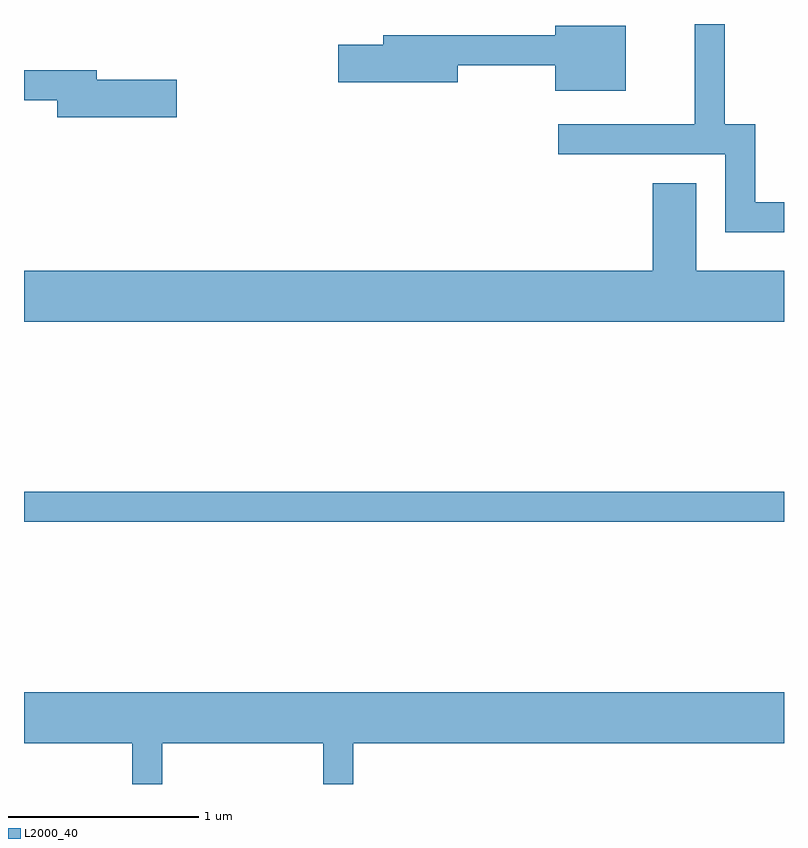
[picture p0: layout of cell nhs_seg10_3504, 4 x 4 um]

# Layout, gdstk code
import gdstk
lib = gdstk.Library(unit=1e-6, precision=1e-09)
def R(c, l, rs):  # rectangles x0, y0, x1, y1
    for r in rs: c.add(gdstk.rectangle(r[:2], r[2:], *l))
def P(c, l, *ps):  # polygons
    for p in ps: c.add(gdstk.Polygon(p, *l))
L2000_40 = (2000, 40)

nhs_seg10_3504 = lib.new_cell('nhs_seg10_3504')
R(nhs_seg10_3504, L2000_40, [(287.611,2183.901,291.611,2184.059)])
P(nhs_seg10_3504, L2000_40, [(291.611,2185.584),(291.459,2185.584),(291.459,2185.994),(291.299,2185.994),(291.299,2186.522),(291.141,2186.522),(291.141,2185.994),(290.423,2185.994),(290.423,2185.836),(291.301,2185.836),(291.301,2185.426),(291.611,2185.426)],
  [(290.779,2186.514),(290.406,2186.514),(290.406,2186.464),(289.501,2186.464),(289.501,2186.414),(289.266,2186.414),(289.266,2186.216),(289.894,2186.216),(289.894,2186.306),(290.406,2186.306),(290.406,2186.171),(290.779,2186.171)],
  [(288.414,2186.229),(287.994,2186.229),(287.994,2186.279),(287.611,2186.279),(287.611,2186.121),(287.786,2186.121),(287.786,2186.031),(288.414,2186.031)],
  [(291.611,2185.224),(291.149,2185.224),(291.149,2185.684),(290.921,2185.684),(290.921,2185.224),(287.611,2185.224),(287.611,2184.956),(291.611,2184.956)],
  [(288.339,2182.736),(289.186,2182.736),(289.186,2182.522),(289.344,2182.522),(289.344,2182.736),(291.611,2182.736),(291.611,2183.004),(287.611,2183.004),(287.611,2182.736),(288.181,2182.736),(288.181,2182.522),(288.339,2182.522)])

lib.write_gds('nhs_seg10_3504.gds')
